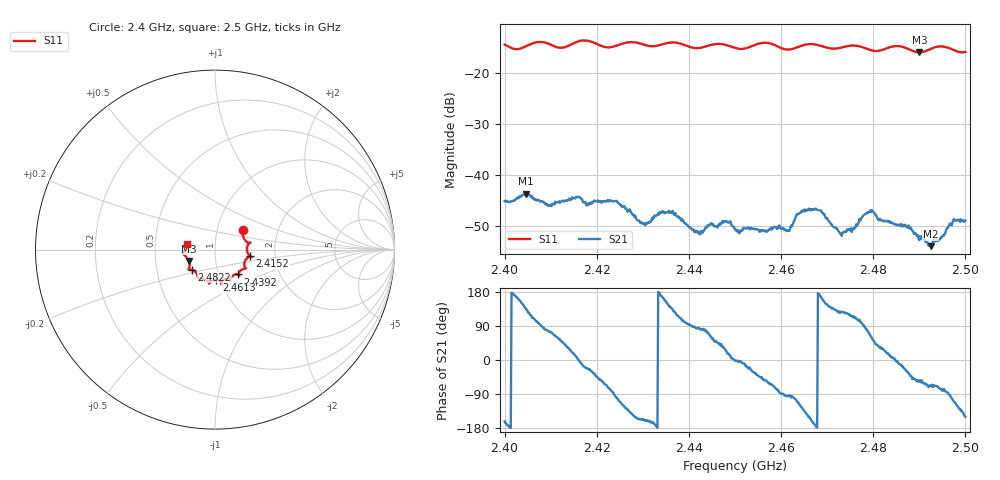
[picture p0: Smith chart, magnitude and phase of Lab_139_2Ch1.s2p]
# Hz S RI R 50
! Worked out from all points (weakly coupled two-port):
!   601 points, 2.4 GHz to 2.5 GHz, reference 50 ohm
!   highest |S21| = -43.67 dB at 2.4047 GHz (marker M1); lowest = -54.0 dB at 2.4925 GHz (marker M2)
!   lowest |S11| = -15.9 dB at 2.49 GHz (marker M3), VSWR 1.38, Z = 36.9 - j4.8 ohm
!   |S11| at or under -10 dB: start of sweep to end of sweep
!   S12 and S22 are empty: the file has one direction only
!   S11 on the Smith chart (normalised r, x): 2.4 GHz: 1.33, +0.30; 2.4152 GHz: 1.48, -0.11; 2.4392 GHz: 1.23, -0.35; 2.4613 GHz: 0.96, -0.34; 2.4822 GHz: 0.76, -0.17; 2.5 GHz: 0.73, +0.05
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2.4e9  0.1554 0.1104  -0.00528 -0.00171  0 0  0 0
2.404667e9  0.1789 0.0417  -0.00459 0.00468  0 0  0 0
2.409667e9  0.1901 0.0347  0.00136 0.00479  0 0  0 0
2.415167e9  0.1945 -0.0368  0.00578 0.00138  0 0  0 0
2.416667e9  0.204 -0.0424  0.00577 -0.000918  0 0  0 0
2.424167e9  0.1633 -0.0874  -0.00069 -0.00554  0 0  0 0
2.43e9  0.1585 -0.1082  -0.00303 -0.00135  0 0  0 0
2.433333e9  0.1324 -0.1323  -0.00423 3.01e-06  0 0  0 0
2.439167e9  0.1269 -0.1385  -0.000557 0.00332  0 0  0 0
2.4425e9  0.0939 -0.1501  0.000426 0.00259  0 0  0 0
2.447833e9  0.0841 -0.1702  0.00313 0.00165  0 0  0 0
2.45e9  0.0685 -0.1635  0.00293 -3.32e-05  0 0  0 0
2.461333e9  0.00746 -0.1701  -0.000304 -0.00286  0 0  0 0
2.466667e9  -0.0332 -0.19  -0.00437 -0.0015  0 0  0 0
2.473167e9  -0.0789 -0.1604  -0.00153 0.00201  0 0  0 0
2.479333e9  -0.102 -0.1342  0.00185 0.00409  0 0  0 0
2.482167e9  -0.1283 -0.1118  0.00315 0.00169  0 0  0 0
2.483333e9  -0.1396 -0.1103  0.0034 0.000973  0 0  0 0
2.49e9  -0.1467 -0.0633  0.00124 -0.00193  0 0  0 0
2.4925e9  -0.1706 -0.031  0.000743 -0.00186  0 0  0 0
2.497667e9  -0.1671 -0.00448  -0.00136 -0.00334  0 0  0 0
2.5e9  -0.1581 0.0336  -0.00309 -0.00179  0 0  0 0
